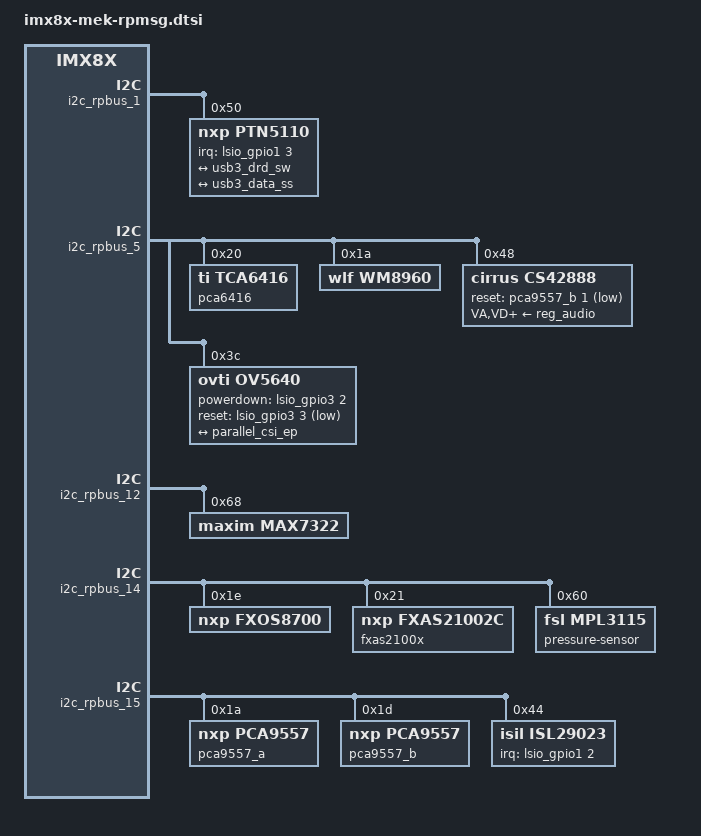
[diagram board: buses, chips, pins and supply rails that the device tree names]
// SPDX-License-Identifier: GPL-2.0+
// Copyright NXP 2019


/delete-node/ &cm40_i2c;
/delete-node/ &i2c1;

/ {
	aliases {
		i2c1 = &i2c_rpbus_1;
	};
};

&i2c_rpbus_1 {
	#address-cells = <1>;
	#size-cells = <0>;
	status = "okay";

	ptn5110: tcpc@50 {
		compatible = "nxp,ptn5110";
		pinctrl-names = "default";
		pinctrl-0 = <&pinctrl_typec>;
		reg = <0x50>;
		interrupt-parent = <&lsio_gpio1>;
		interrupts = <3 IRQ_TYPE_LEVEL_LOW>;
		status = "okay";

		port {
			typec_dr_sw: endpoint {
				remote-endpoint = <&usb3_drd_sw>;
			};
		};

		usb_con1: connector {
			compatible = "usb-c-connector";
			label = "USB-C";
			power-role = "source";
			data-role = "dual";
			source-pdos = <PDO_FIXED(5000, 3000, PDO_FIXED_USB_COMM)>;

			ports {
				#address-cells = <1>;
				#size-cells = <0>;

				port@1 {
					reg = <1>;
					typec_con_ss: endpoint {
						remote-endpoint = <&usb3_data_ss>;
					};
				};
			};
		};
	};
};

&i2c_rpbus_5 {
	#address-cells = <1>;
	#size-cells = <0>;
	status = "okay";

	pca6416: gpio@20 {
		compatible = "ti,tca6416";
		reg = <0x20>;
		gpio-controller;
		#gpio-cells = <2>;
	};

	wm8960: wm8960@1a {
		compatible = "wlf,wm8960";
		reg = <0x1a>;
		clocks = <&mclkout0_lpcg 0>;
		clock-names = "mclk";
		wlf,shared-lrclk;
		wlf,hp-cfg = <2 2 3>;
		wlf,gpio-cfg = <1 3>;
		assigned-clocks = <&clk IMX_SC_R_AUDIO_PLL_0 IMX_SC_PM_CLK_PLL>,
				<&clk IMX_SC_R_AUDIO_PLL_0 IMX_SC_PM_CLK_SLV_BUS>,
				<&clk IMX_SC_R_AUDIO_PLL_0 IMX_SC_PM_CLK_MST_BUS>,
				<&mclkout0_lpcg 0>;
		assigned-clock-rates = <786432000>, <49152000>, <12288000>, <12288000>;
	};

	cs42888: cs42888@48 {
		compatible = "cirrus,cs42888";
		reg = <0x48>;
		clocks = <&mclkout0_lpcg 0>;
		clock-names = "mclk";
		VA-supply = <&reg_audio>;
		VD-supply = <&reg_audio>;
		VLS-supply = <&reg_audio>;
		VLC-supply = <&reg_audio>;
		reset-gpio = <&pca9557_b 1 GPIO_ACTIVE_LOW>;
		assigned-clocks = <&clk IMX_SC_R_AUDIO_PLL_0 IMX_SC_PM_CLK_PLL>,
				<&clk IMX_SC_R_AUDIO_PLL_0 IMX_SC_PM_CLK_SLV_BUS>,
				<&clk IMX_SC_R_AUDIO_PLL_0 IMX_SC_PM_CLK_MST_BUS>,
				<&mclkout0_lpcg 0>;
		assigned-clock-rates = <786432000>, <49152000>, <12288000>, <12288000>;
		fsl,txs-rxm;
	};

	ov5640: ov5640@3c {
		compatible = "ovti,ov5640";
		reg = <0x3c>;
		pinctrl-names = "default";
		pinctrl-0 = <&pinctrl_parallel_csi>;
		clocks = <&pi0_misc_lpcg 0>;
		assigned-clocks = <&pi0_misc_lpcg 0>;
		assigned-clock-rates = <24000000>;
		clock-names = "xclk";
		powerdown-gpios = <&lsio_gpio3 2 GPIO_ACTIVE_HIGH>;
		reset-gpios = <&lsio_gpio3 3 GPIO_ACTIVE_LOW>;
		csi_id = <0>;
		mclk = <24000000>;
		mclk_source = <0>;
		status = "okay";
		port {
			ov5640_ep: endpoint {
				remote-endpoint = <&parallel_csi_ep>;
				bus-type = <5>; /* V4L2_FWNODE_BUS_TYPE_PARALLEL */
				bus-width = <8>;
				vsync-active = <0>;
				hsync-active = <1>;
				pclk-sample = <1>;
			};
		};
	};
};

&i2c_rpbus_12 {
	#address-cells = <1>;
	#size-cells = <0>;
	status = "okay";

	max7322: gpio@68 {
		compatible = "maxim,max7322";
		reg = <0x68>;
		gpio-controller;
		#gpio-cells = <2>;
	};
};

&i2c_rpbus_14 {
	#address-cells = <1>;
	#size-cells = <0>;
	status = "okay";

	fxos8700@1e {
		compatible = "nxp,fxos8700";
		reg = <0x1e>;
		interrupt-open-drain;
	};

	fxas2100x@21 {
		compatible = "nxp,fxas21002c";
		reg = <0x21>;
		interrupt-open-drain;
	};

	pressure-sensor@60 {
		compatible = "fsl,mpl3115";
		reg = <0x60>;
		interrupt-open-drain;
	};
};

&i2c_rpbus_15 {
	#address-cells = <1>;
	#size-cells = <0>;
	status = "okay";

	pca9557_a: gpio@1a {
		compatible = "nxp,pca9557";
		reg = <0x1a>;
		gpio-controller;
		#gpio-cells = <2>;
	};

	pca9557_b: gpio@1d {
		compatible = "nxp,pca9557";
		reg = <0x1d>;
		gpio-controller;
		#gpio-cells = <2>;
	};

	isl29023@44 {
		pinctrl-names = "default";
		pinctrl-0 = <&pinctrl_isl29023>;
		compatible = "isil,isl29023";
		reg = <0x44>;
		rext = <499>;
		interrupt-parent = <&lsio_gpio1>;
		interrupts = <2 2>;
	};
};

&cm40_i2c_lpcg {
	status = "disabled";
};

&i2c1_lpcg {
	status = "disabled";
};

&can0_lpcg {
	status = "disabled";
};

&reg_can_en {
	status = "disabled";
};

&reg_can_stby {
	status = "disabled";
};

&flexcan1 {
	status = "disabled";
};

&flexcan2 {
	status = "disabled";
};

&cm40_intmux {
	status = "disabled";
};

&flexspi0 {
	status = "disabled";
};

&lpuart3 {
	status = "disabled";
};

&uart3_lpcg {
	status = "disabled";
};

&imx8x_cm4 {
	/* Assume you have partitioned M4, so M4 is ont controled by Linux */
	/delete-property/ power-domains;
};
